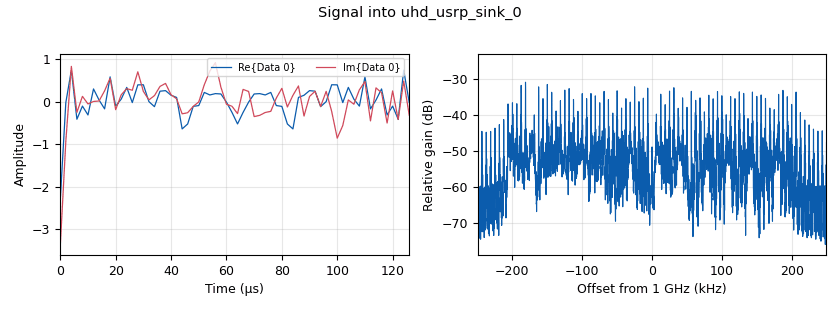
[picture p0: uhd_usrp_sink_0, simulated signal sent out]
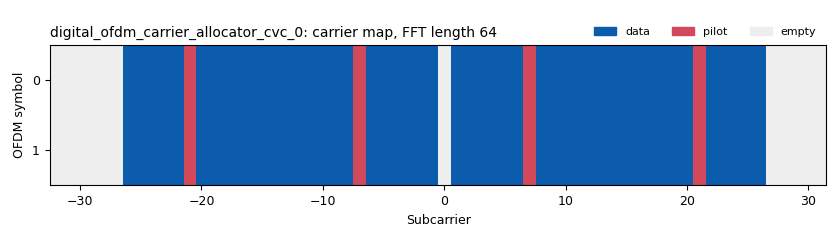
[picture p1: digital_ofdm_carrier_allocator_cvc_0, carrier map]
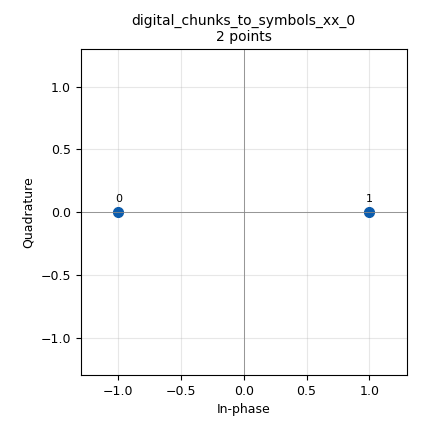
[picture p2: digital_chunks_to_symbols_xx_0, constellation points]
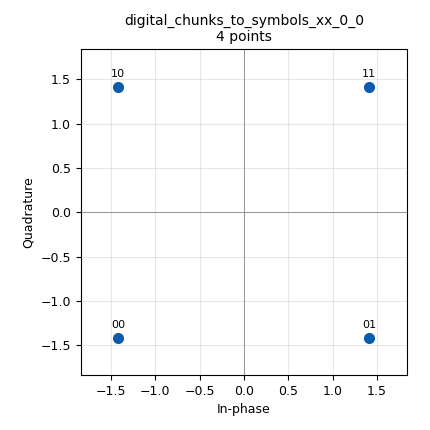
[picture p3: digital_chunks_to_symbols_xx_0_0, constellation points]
options:
  parameters:
    category: Custom
    description: Example of an OFDM Transmitter
    generate_options: qt_gui
    id: tx_ofdm_msg
    output_language: python
    run_options: run
    title: OFDM Tx
  states: {}

blocks:
- name: band_width
  id: variable
  parameters:
    value: 0.5e6
  states: {}
- name: fft_len
  id: variable
  parameters:
    value: '64'
  states: {}
- name: freq
  id: variable
  parameters:
    value: 1e9
  states: {}
- name: gain
  id: variable
  parameters:
    value: '1'
  states: {}
- name: hdr_format
  id: variable
  parameters:
    value: digital.header_format_ofdm(occupied_carriers, 1, length_tag_key,)
  states: {}
- name: header_mod
  id: variable
  parameters:
    value: digital.constellation_bpsk()
  states: {}
- name: length_tag_key
  id: variable
  parameters:
    value: '"packet_len"'
  states: {}
- name: occupied_carriers
  id: variable
  parameters:
    value: (list(range(-26, -21)) + list(range(-20, -7)) + list(range(-6, 0)) + list(range(1, 7)) + list(range(8, 21)) + list(range(22, 27)),)
  states: {}
- name: packet_len
  id: variable
  parameters:
    value: '96'
  states: {}
- name: payload_mod
  id: variable
  parameters:
    value: digital.constellation_qpsk()
  states: {}
- name: pilot_carriers
  id: variable
  parameters:
    value: ((-21, -7, 7, 21,),)
  states: {}
- name: pilot_symbols
  id: variable
  parameters:
    value: ((1, 1, 1, -1,),)
  states: {}
- name: rolloff
  id: variable
  parameters:
    value: '0'
  states: {}
- name: samp_rate
  id: variable
  parameters:
    value: '50000'
  states: {}
- name: sync_word1
  id: variable
  parameters:
    value: '[0., 0., 0., 0., 0., 0., 0., 1.41421356, 0., -1.41421356, 0., 1.41421356, 0., -1.41421356, 0., -1.41421356, 0., -1.41421356, 0., 1.41421356, 0., -1.41421356, 0., 1.41421356, 0., -1.41421356, 0., -1.41421356, 0., -1.41421356, 0., -1.41421356, 0., 1.41421356, 0., -1.41421356, 0., 1.41421356, 0., 1.41421356, 0., 1.41421356, 0., -1.41421356, 0., 1.41421356, 0., 1.41421356, 0., 1.41421356, 0., -1.41421356, 0., 1.41421356, 0., 1.41421356, 0., 1.41421356, 0., 0., 0., 0., 0., 0.]'
  states: {}
- name: sync_word2
  id: variable
  parameters:
    value: '[0, 0, 0, 0, 0, 0, -1, -1, -1, -1, 1, 1, -1, -1, -1, 1, -1, 1, 1, 1, 1, 1, -1, -1, -1, -1, -1, 1, -1, -1, 1, -1, 0, 1, -1, 1, 1, 1, -1, 1, 1, 1, -1, 1, 1, 1, 1, -1, 1, -1, -1, -1, 1, -1, 1, -1, -1, -1, -1, 0, 0, 0, 0, 0] '
  states: {}
- name: analog_random_source_x_0
  id: analog_random_source_x
  parameters:
    max: '2'
    min: '0'
    num_samps: '1000'
    repeat: 'True'
    type: byte
  states: {}
- name: blocks_multiply_const_vxx_0
  id: blocks_multiply_const_vxx
  parameters:
    const: '0.05'
    type: complex
  states: {}
- name: blocks_repack_bits_bb_0
  id: blocks_repack_bits_bb
  parameters:
    endianness: gr.GR_LSB_FIRST
    k: '8'
    l: payload_mod.bits_per_symbol()
    len_tag_key: length_tag_key
  states: {}
- name: blocks_repack_bits_bb_0_0
  id: blocks_repack_bits_bb
  parameters:
    endianness: gr.GR_LSB_FIRST
    k: '8'
    l: '1'
    len_tag_key: length_tag_key
  states: {}
- name: blocks_stream_to_tagged_stream_0
  id: blocks_stream_to_tagged_stream
  parameters:
    len_tag_key: length_tag_key
    packet_len: packet_len
    type: byte
  states: {}
- name: blocks_tag_debug_0
  id: blocks_tag_debug
  parameters:
    name: Rx'd Packets
    type: byte
  states: {state: disabled}
- name: blocks_tag_gate_0
  id: blocks_tag_gate
  parameters:
    propagate_tags: 'False'
    type: complex
  states: {}
- name: blocks_tagged_stream_mux_0
  id: blocks_tagged_stream_mux
  parameters:
    lengthtagname: length_tag_key
    ninputs: '2'
    type: complex
  states: {}
- name: blocks_throttle_0
  id: blocks_throttle
  parameters:
    samples_per_second: samp_rate
    type: complex
  states: {state: disabled}
- name: blocks_vector_to_stream_0
  id: blocks_vector_to_stream
  parameters:
    num_items: '1'
    type: byte
  states: {}
- name: channels_channel_model_0
  id: channels_channel_model
  parameters:
    block_tags: 'True'
    epsilon: '1.0'
    freq_offset: '0.0'
    noise_voltage: '0.0'
    seed: '0'
    taps: 1.0 + 1.0j
  states: {state: disabled}
- name: digital_chunks_to_symbols_xx_0
  id: digital_chunks_to_symbols_xx
  parameters:
    dimension: '1'
    in_type: byte
    out_type: complex
    symbol_table: header_mod.points()
  states: {}
- name: digital_chunks_to_symbols_xx_0_0
  id: digital_chunks_to_symbols_xx
  parameters:
    dimension: '1'
    in_type: byte
    out_type: complex
    symbol_table: payload_mod.points()
  states: {}
- name: digital_crc32_bb_0
  id: digital_crc32_bb
  parameters:
    check: 'False'
    lengthtagname: length_tag_key
    packed: 'True'
  states: {}
- name: digital_ofdm_carrier_allocator_cvc_0
  id: digital_ofdm_carrier_allocator_cvc
  parameters:
    fft_len: fft_len
    len_tag_key: length_tag_key
    occupied_carriers: occupied_carriers
    output_is_shifted: 'True'
    pilot_carriers: pilot_carriers
    pilot_symbols: pilot_symbols
    sync_words: (sync_word1, sync_word2)
  states: {}
- name: digital_ofdm_cyclic_prefixer_0
  id: digital_ofdm_cyclic_prefixer
  parameters:
    cp_len: fft_len//4
    input_size: fft_len
    rolloff: rolloff
    tagname: length_tag_key
  states: {}
- name: digital_ofdm_rx_0
  id: digital_ofdm_rx
  parameters:
    cp_len: fft_len//4
    fft_len: fft_len
    header_mod: '"BPSK"'
    occupied_carriers: occupied_carriers
    packet_len_key: '"length"'
    payload_mod: '"QPSK"'
    pilot_carriers: pilot_carriers
    pilot_symbols: pilot_symbols
    sync_word1: sync_word1
    sync_word2: sync_word2
  states: {state: disabled}
- name: digital_protocol_formatter_bb_0
  id: digital_protocol_formatter_bb
  parameters:
    format: hdr_format
    len_tag_key: length_tag_key
  states: {}
- name: epy_block_0
  id: epy_block
  parameters:
    _source_code: |
      """
      Embedded Python Block demo
      """

      #  epy_block_0.py
      #  created 10/17/2019

      import numpy as np
      from gnuradio import gr

      import pmt

      textboxValue = ""

      class my_sync_block(gr.sync_block):
          """
          reads input from a message port
          outputs text
          """
          def __init__(self):
              gr.sync_block.__init__(self,
                  name = "Embedded Python demo",
                  in_sig = None,
                  out_sig = [np.byte])
              self.message_port_register_in(pmt.intern('msg_in'))
              self.message_port_register_out(pmt.intern('clear_input'))
              self.set_msg_handler(pmt.intern('msg_in'), self.handle_msg)

          def handle_msg(self, msg):
              global textboxValue

              textboxValue = pmt.symbol_to_string (msg)
              print (textboxValue)
          
          def work(self, input_items, output_items):
              global textboxValue

              # get length of string
              _len = len(textboxValue)
              if (_len > 0):
                  # terminate with LF
                  textboxValue += "\n"
                  _len += 1
                  # store elements in output array
                  for x in range(_len):
                      output_items[0][x] = ord(textboxValue[x])
                  textboxValue = ""
                  self.message_port_pub(pmt.intern('clear_input'), pmt.intern(''))
                  return (_len)
              else:
                  return (0)
  states: {state: disabled}
- name: fft_vxx_0
  id: fft_vxx
  parameters:
    fft_size: fft_len
    forward: 'False'
    shift: 'True'
    type: complex
    window: ()
  states: {}
- name: header_bits
  id: virtual_sink
  parameters:
    stream_id: Header Bits
  states: {}
- name: qtgui_edit_box_msg_1
  id: qtgui_edit_box_msg
  parameters:
    is_pair: 'False'
    is_static: 'False'
    label: input_string
    type: string
  states: {state: disabled}
- name: qtgui_freq_sink_x_0
  id: qtgui_freq_sink_x
  parameters:
    autoscale: 'True'
    bw: samp_rate
    fc: '0'
    fftsize: '1024'
    name: FFT Plot
    showports: 'True'
    type: complex
  states: {state: disabled}
- name: qtgui_time_sink_x_0
  id: qtgui_time_sink_x
  parameters:
    autoscale: 'True'
    label1: Scope Plot
    label2: ''
    name: Scope Plot
    size: '1024'
    srate: samp_rate
    type: complex
  states: {state: disabled}
- name: uhd_usrp_sink_0
  id: uhd_usrp_sink
  parameters:
    ant0: TX/RX
    center_freq0: freq
    dev_addr: '"serial=314D842"'
    dev_args: '""'
    gain0: gain
    len_tag_name: ''
    samp_rate: band_width
    sync: pc_clock
    type: fc32
  states: {}
- name: virtual_sink_0
  id: virtual_sink
  parameters:
    stream_id: Time Domain
  states: {}
- name: virtual_sink_0_0
  id: virtual_sink
  parameters:
    stream_id: Payload Bits
  states: {}
- name: virtual_sink_0_0_0
  id: virtual_sink
  parameters:
    stream_id: Pre-OFDM
  states: {}
- name: virtual_sink_1
  id: virtual_sink
  parameters:
    stream_id: Tx Signal
  states: {state: disabled}
- name: virtual_source_0
  id: virtual_source
  parameters:
    stream_id: Header Bits
  states: {}
- name: virtual_source_0_0
  id: virtual_source
  parameters:
    stream_id: Payload Bits
  states: {}
- name: virtual_source_0_0_0
  id: virtual_source
  parameters:
    stream_id: Pre-OFDM
  states: {}
- name: virtual_source_0_0_0_0
  id: virtual_source
  parameters:
    stream_id: Time Domain
  states: {}
- name: virtual_source_1
  id: virtual_source
  parameters:
    stream_id: Tx Signal
  states: {state: disabled}

connections:
- [analog_random_source_x_0, '0', blocks_vector_to_stream_0, '0']
- [blocks_multiply_const_vxx_0, '0', blocks_tag_gate_0, '0']
- [blocks_repack_bits_bb_0, '0', virtual_sink_0_0, '0']
- [blocks_repack_bits_bb_0_0, '0', header_bits, '0']
- [blocks_stream_to_tagged_stream_0, '0', digital_crc32_bb_0, '0']
- [blocks_tag_gate_0, '0', blocks_throttle_0, '0']
- [blocks_tag_gate_0, '0', uhd_usrp_sink_0, '0']
- [blocks_tagged_stream_mux_0, '0', virtual_sink_0_0_0, '0']
- [blocks_throttle_0, '0', qtgui_freq_sink_x_0, '0']
- [blocks_throttle_0, '0', qtgui_time_sink_x_0, '0']
- [blocks_throttle_0, '0', virtual_sink_1, '0']
- [blocks_vector_to_stream_0, '0', blocks_stream_to_tagged_stream_0, '0']
- [channels_channel_model_0, '0', digital_ofdm_rx_0, '0']
- [digital_chunks_to_symbols_xx_0, '0', blocks_tagged_stream_mux_0, '0']
- [digital_chunks_to_symbols_xx_0_0, '0', blocks_tagged_stream_mux_0, '1']
- [digital_crc32_bb_0, '0', blocks_repack_bits_bb_0, '0']
- [digital_crc32_bb_0, '0', digital_protocol_formatter_bb_0, '0']
- [digital_ofdm_carrier_allocator_cvc_0, '0', fft_vxx_0, '0']
- [digital_ofdm_cyclic_prefixer_0, '0', virtual_sink_0, '0']
- [digital_ofdm_rx_0, '0', blocks_tag_debug_0, '0']
- [digital_protocol_formatter_bb_0, '0', blocks_repack_bits_bb_0_0, '0']
- [epy_block_0, '0', blocks_vector_to_stream_0, '0']
- [epy_block_0, clear_input, qtgui_edit_box_msg_1, val]
- [fft_vxx_0, '0', digital_ofdm_cyclic_prefixer_0, '0']
- [qtgui_edit_box_msg_1, msg, epy_block_0, msg_in]
- [virtual_source_0, '0', digital_chunks_to_symbols_xx_0, '0']
- [virtual_source_0_0, '0', digital_chunks_to_symbols_xx_0_0, '0']
- [virtual_source_0_0_0, '0', digital_ofdm_carrier_allocator_cvc_0, '0']
- [virtual_source_0_0_0_0, '0', blocks_multiply_const_vxx_0, '0']
- [virtual_source_1, '0', channels_channel_model_0, '0']

metadata:
  file_format: 1
